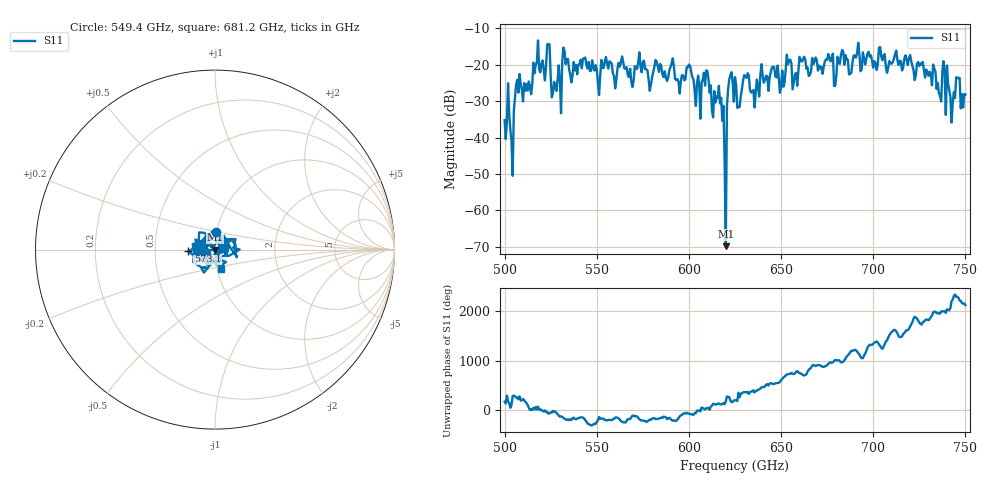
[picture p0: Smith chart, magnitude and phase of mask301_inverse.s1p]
!Created with skrf (http://scikit-rf.org).
# GHz S MA R 50.0
!freq magS11 angS11
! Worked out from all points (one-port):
!   401 points, 500 GHz to 750 GHz, reference 50 ohm
!   lowest |S11| = -69.9 dB at 620 GHz (marker M1), VSWR 1.00, Z = 50 + j5.73e-05 ohm
!   |S11| at or under -10 dB: start of sweep to end of sweep
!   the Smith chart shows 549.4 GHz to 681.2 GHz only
!   S11 on the Smith chart (normalised r, x): 549.4 GHz: 0.99, +0.20; 573.1 GHz: 0.74, -0.01; 681.2 GHz: 1.04, -0.23
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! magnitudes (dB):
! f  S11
! 500 GHz  -35.2
! 503.8 GHz  -41.1
! 506.9 GHz  -24.1
! 513.8 GHz  -26.0
! 516.9 GHz  -20.0
! 523.8 GHz  -14.2
! 526.9 GHz  -24.7
! 531.2 GHz  -19.3
! 533.1 GHz  -19.8
! 549.4 GHz  -20.1
! 562.5 GHz  -20.5
! 568.8 GHz  -24.6
! 573.1 GHz  -16.6
! 593.8 GHz  -23.9
! 600 GHz  -19.9
! 605 GHz  -23.0
! 609.4 GHz  -21.5
! 617.5 GHz  -29.1
! 618.8 GHz  -31.3
! 620 GHz  -69.9
! 621.2 GHz  -26.8
! 621.9 GHz  -24.0
! 625 GHz  -23.4
! 656.2 GHz  -26.8
! 681.2 GHz  -19.0
! 687.5 GHz  -22.5
! 718.8 GHz  -20.0
! 750 GHz  -28.2
